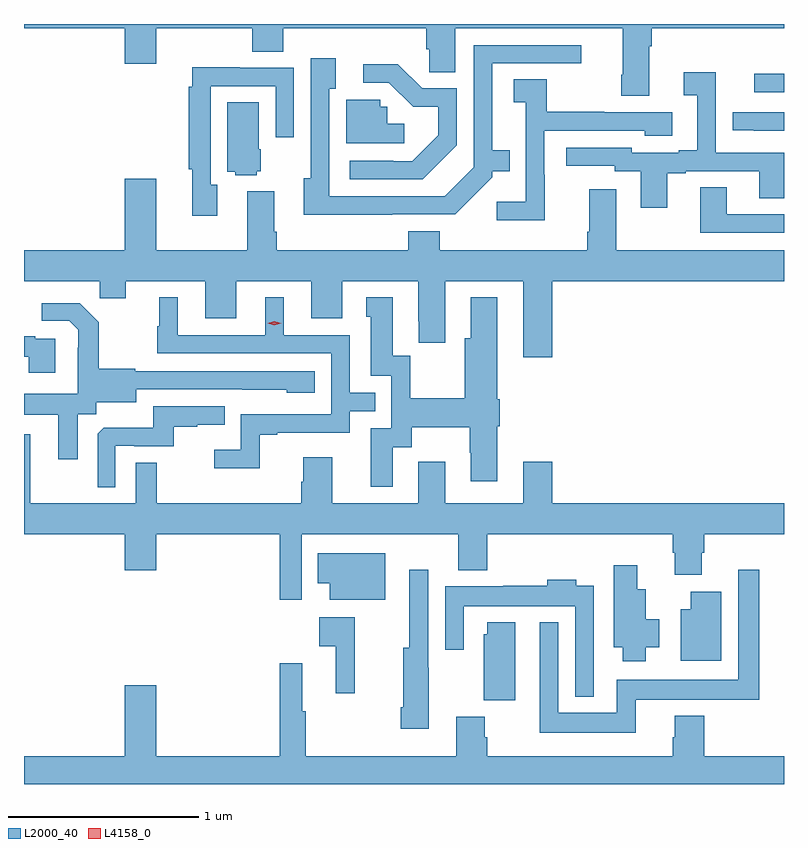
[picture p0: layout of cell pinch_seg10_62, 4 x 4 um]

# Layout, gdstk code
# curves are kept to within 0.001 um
import gdstk
lib = gdstk.Library(unit=1e-6, precision=1e-09)
def R(c, l, rs):  # rectangles x0, y0, x1, y1
    for r in rs: c.add(gdstk.rectangle(r[:2], r[2:], *l))
def P(c, l, *ps):  # polygons
    for p in ps: c.add(gdstk.Polygon(p, *l))
L2000_40 = (2000, 40)
L4158_0 = (4158, 0)

pinch_seg10_62 = lib.new_cell('pinch_seg10_62')
R(pinch_seg10_62, L2000_40, [(839.649,1298.646,839.805,1298.745)])
P(pinch_seg10_62, L2000_40, [(839.095,1298.888),(839.108,1298.888),(839.108,1298.984),(839.805,1298.984),(839.805,1299.006),(835.805,1299.006),(835.805,1298.984),(836.336,1298.984),(836.336,1298.796),(836.5,1298.796),(836.5,1298.984),(837.005,1298.984),(837.005,1298.86),(837.17,1298.86),(837.17,1298.984),(837.923,1298.984),(837.923,1298.874),(837.937,1298.874),(837.937,1298.752),(838.075,1298.752),(838.075,1298.984),(838.955,1298.984),(838.955,1298.74),(838.948,1298.74),(838.948,1298.628),(839.095,1298.628)],
  [(837.743,1298.004),(838.074,1298.004),(838.269,1298.199),(838.269,1298.231),(838.361,1298.231),(838.361,1298.341),(838.27,1298.341),(838.27,1298.799),(838.738,1298.799),(838.738,1298.895),(838.173,1298.895),(838.173,1298.253),(838.02,1298.1),(837.411,1298.1),(837.411,1298.666),(837.445,1298.666),(837.445,1298.827),(837.315,1298.827),(837.315,1298.194),(837.278,1298.194),(837.278,1298.003)],
  [(838.083,1298.369),(838.083,1298.667),(837.9,1298.667),(837.772,1298.795),(837.591,1298.795),(837.591,1298.697),(837.726,1298.697),(837.853,1298.57),(837.986,1298.57),(837.986,1298.42),(837.849,1298.283),(837.749,1298.283),(837.749,1298.286),(837.519,1298.286),(837.519,1298.19),(837.904,1298.19)],
  [(836.821,1298.159),(836.787,1298.159),(836.787,1298.679),(837.129,1298.679),(837.129,1298.409),(837.225,1298.409),(837.225,1298.775),(836.941,1298.775),(836.941,1298.779),(836.69,1298.779),(836.69,1298.675),(836.671,1298.675),(836.671,1298.242),(836.69,1298.242),(836.69,1297.998),(836.821,1297.998)],
  [(839.191,1298.22),(839.287,1298.22),(839.287,1298.232),(839.675,1298.232),(839.675,1298.089),(839.805,1298.089),(839.805,1298.328),(839.445,1298.328),(839.445,1298.752),(839.277,1298.752),(839.277,1298.632),(839.348,1298.632),(839.348,1298.341),(839.252,1298.341),(839.252,1298.328),(839.004,1298.328),(839.004,1298.355),(838.659,1298.355),(838.659,1298.259),(838.914,1298.259),(838.914,1298.232),(839.051,1298.232),(839.051,1298.04),(839.191,1298.04)],
  [(838.545,1298.213),(838.542,1298.213),(838.542,1298.445),(839.073,1298.445),(839.073,1298.417),(839.218,1298.417),(839.218,1298.541),(838.859,1298.541),(838.859,1298.544),(838.555,1298.544),(838.555,1298.714),(838.383,1298.714),(838.383,1298.593),(838.446,1298.593),(838.446,1298.071),(838.293,1298.071),(838.293,1297.973),(838.545,1297.973)],
  [(837.805,1298.482),(837.717,1298.482),(837.717,1298.571),(837.681,1298.571),(837.681,1298.607),(837.5,1298.607),(837.5,1298.379),(837.805,1298.379)],
  [(837.03,1298.232),(837.052,1298.232),(837.052,1298.346),(837.04,1298.346),(837.04,1298.594),(836.876,1298.594),(836.876,1298.228),(836.916,1298.228),(836.916,1298.21),(837.03,1298.21)],
  [(839.805,1298.541),(839.535,1298.541),(839.535,1298.446),(839.647,1298.446),(839.647,1298.445),(839.805,1298.445)],
  [(838.586,1297.652),(839.805,1297.652),(839.805,1297.816),(838.921,1297.816),(838.921,1298.137),(838.781,1298.137),(838.781,1297.912),(838.769,1297.912),(838.769,1297.816),(837.992,1297.816),(837.992,1297.915),(837.827,1297.915),(837.827,1297.816),(837.134,1297.816),(837.134,1297.912),(837.121,1297.912),(837.121,1298.125),(836.981,1298.125),(836.981,1297.816),(836.5,1297.816),(836.5,1298.191),(836.336,1298.191),(836.336,1297.816),(835.805,1297.816),(835.805,1297.652),(836.203,1297.652),(836.203,1297.562),(836.341,1297.562),(836.341,1297.652),(836.759,1297.652),(836.759,1297.458),(836.923,1297.458),(836.923,1297.652),(837.317,1297.652),(837.317,1297.458),(837.481,1297.458),(837.481,1297.652),(837.881,1297.652),(837.881,1297.441),(837.883,1297.441),(837.883,1297.329),(838.021,1297.329),(838.021,1297.652),(838.433,1297.652),(838.433,1297.251),(838.586,1297.251)],
  [(839.805,1298.004),(839.503,1298.004),(839.503,1298.147),(839.363,1298.147),(839.363,1297.908),(839.805,1297.908)],
  [(837.045,1296.843),(837.139,1296.843),(837.139,1296.855),(837.519,1296.855),(837.519,1296.969),(837.653,1296.969),(837.653,1297.065),(837.519,1297.065),(837.519,1297.368),(837.172,1297.368),(837.172,1297.567),(837.074,1297.567),(837.074,1297.368),(836.614,1297.368),(836.614,1297.567),(836.516,1297.567),(836.516,1297.416),(836.505,1297.416),(836.505,1297.272),(837.423,1297.272),(837.423,1296.951),(836.946,1296.951),(836.946,1296.766),(836.805,1296.766),(836.805,1296.668),(837.045,1296.668)],
  [(837.745,1296.778),(837.847,1296.778),(837.847,1296.884),(838.15,1296.884),(838.15,1296.75),(838.157,1296.75),(838.157,1296.6),(838.297,1296.6),(838.297,1296.888),(838.31,1296.888),(838.31,1297.032),(838.297,1297.032),(838.297,1297.567),(838.157,1297.567),(838.157,1297.351),(838.124,1297.351),(838.124,1297.036),(837.838,1297.036),(837.838,1297.261),(837.745,1297.261),(837.745,1297.567),(837.605,1297.567),(837.605,1297.464),(837.629,1297.464),(837.629,1297.155),(837.738,1297.155),(837.738,1296.879),(837.629,1296.879),(837.629,1296.57),(837.745,1296.57)],
  [(836.089,1296.952),(836.184,1296.952),(836.184,1297.016),(836.395,1297.016),(836.395,1297.083),(837.189,1297.082),(837.189,1297.064),(837.334,1297.064),(837.334,1297.179),(836.391,1297.179),(836.391,1297.192),(836.199,1297.192),(836.199,1297.437),(836.099,1297.537),(835.899,1297.537),(835.899,1297.443),(836.043,1297.443),(836.09,1297.396),(836.09,1297.301),(836.088,1297.301),(836.088,1297.06),(835.805,1297.06),(835.805,1296.95),(835.985,1296.95),(835.985,1296.714),(836.089,1296.714)],
  [(835.969,1297.35),(835.865,1297.35),(835.865,1297.363),(835.805,1297.363),(835.805,1297.254),(835.829,1297.254),(835.829,1297.17),(835.969,1297.17)],
  [(836.286,1296.786),(836.386,1296.786),(836.386,1296.783),(836.594,1296.783),(836.594,1296.885),(836.717,1296.885),(836.717,1296.896),(836.861,1296.896),(836.861,1296.993),(836.484,1296.993),(836.484,1296.881),(836.225,1296.881),(836.193,1296.849),(836.193,1296.569),(836.286,1296.569)],
  [(839.219,1296.222),(839.231,1296.222),(839.231,1296.108),(839.371,1296.108),(839.371,1296.222),(839.384,1296.222),(839.384,1296.32),(839.805,1296.32),(839.805,1296.484),(838.586,1296.484),(838.586,1296.703),(838.433,1296.703),(838.433,1296.484),(838.021,1296.484),(838.021,1296.703),(837.881,1296.703),(837.881,1296.484),(837.427,1296.484),(837.427,1296.727),(837.275,1296.727),(837.275,1296.597),(837.263,1296.597),(837.263,1296.484),(836.503,1296.484),(836.503,1296.698),(836.394,1296.698),(836.394,1296.484),(835.837,1296.484),(835.837,1296.847),(835.805,1296.847),(835.805,1296.32),(836.336,1296.32),(836.336,1296.132),(836.5,1296.132),(836.5,1296.32),(837.151,1296.32),(837.151,1295.976),(837.267,1295.976),(837.267,1296.32),(838.091,1296.32),(838.091,1296.131),(838.244,1296.131),(838.244,1296.32),(839.219,1296.32)],
  [(837.706,1296.22),(837.352,1296.22),(837.352,1296.062),(837.413,1296.062),(837.413,1295.975),(837.706,1295.975)],
  [(839.077,1295.726),(839.149,1295.726),(839.149,1295.874),(839.077,1295.874),(839.077,1296.031),(839.032,1296.031),(839.032,1296.157),(838.91,1296.157),(838.91,1295.726),(838.955,1295.726),(838.955,1295.651),(839.077,1295.651)],
  [(839.024,1295.45),(839.674,1295.45),(839.674,1296.133),(839.565,1296.133),(839.565,1295.554),(838.926,1295.554),(838.926,1295.38),(838.617,1295.38),(838.617,1295.857),(838.52,1295.857),(838.52,1295.276),(839.024,1295.276)],
  [(837.934,1295.618),(837.933,1295.618),(837.933,1296.133),(837.832,1296.133),(837.832,1295.722),(837.8,1295.722),(837.8,1295.41),(837.788,1295.41),(837.788,1295.298),(837.934,1295.298)],
  [(838.803,1296.049),(838.711,1296.049),(838.711,1296.082),(838.559,1296.082),(838.559,1296.049),(838.327,1296.049),(838.327,1296.046),(838.023,1296.046),(838.023,1295.712),(838.119,1295.712),(838.119,1295.942),(838.707,1295.942),(838.707,1295.465),(838.803,1295.465)],
  [(839.476,1296.019),(839.315,1296.019),(839.315,1295.926),(839.261,1295.926),(839.261,1295.654),(839.476,1295.654)],
  [(837.546,1295.884),(837.36,1295.884),(837.36,1295.732),(837.446,1295.732),(837.446,1295.484),(837.546,1295.484)],
  [(838.39,1295.857),(838.244,1295.857),(838.244,1295.793),(838.226,1295.793),(838.226,1295.446),(838.39,1295.446)],
  [(839.805,1295.152),(839.384,1295.152),(839.384,1295.365),(839.231,1295.365),(839.231,1295.253),(839.219,1295.253),(839.219,1295.152),(838.244,1295.152),(838.244,1295.252),(838.231,1295.252),(838.231,1295.361),(838.079,1295.361),(838.079,1295.152),(837.287,1295.152),(837.287,1295.388),(837.269,1295.388),(837.269,1295.641),(837.151,1295.641),(837.151,1295.152),(836.5,1295.152),(836.5,1295.527),(836.336,1295.527),(836.336,1295.152),(835.805,1295.152),(835.805,1295.006),(839.805,1295.006)])
P(pinch_seg10_62, L4158_0, [(837.123,1297.421),(837.087,1297.432),(837.087,1297.432),(837.087,1297.432),(837.123,1297.441),(837.159,1297.43),(837.159,1297.43),(837.159,1297.43)])

lib.write_gds('pinch_seg10_62.gds')
